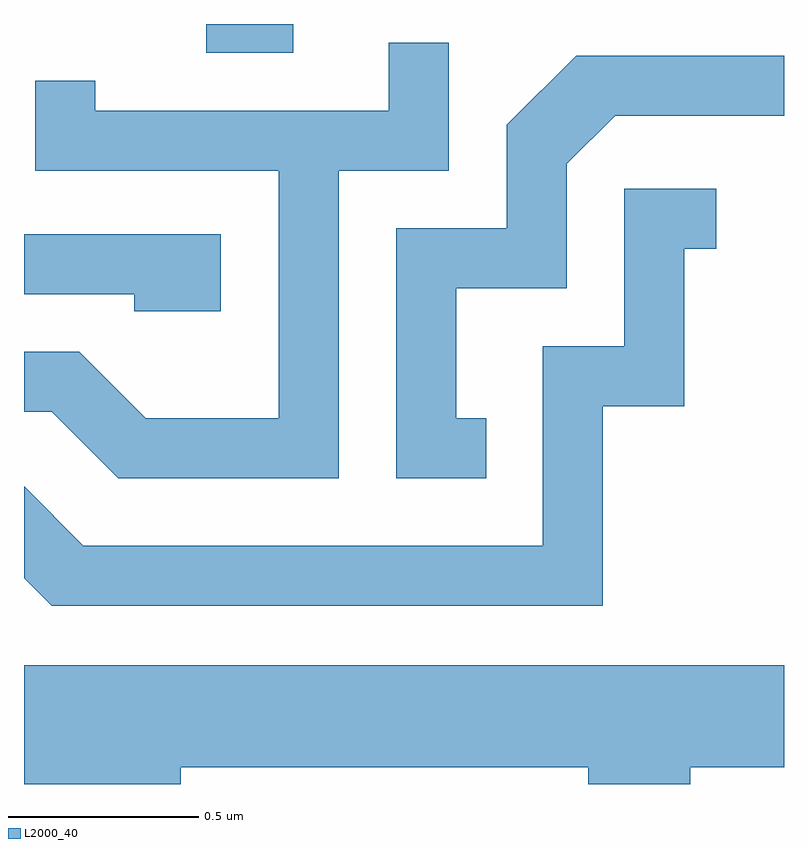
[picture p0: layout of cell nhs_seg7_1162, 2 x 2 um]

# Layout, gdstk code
import gdstk
lib = gdstk.Library(unit=1e-6, precision=1e-09)
def R(c, l, rs):  # rectangles x0, y0, x1, y1
    for r in rs: c.add(gdstk.rectangle(r[:2], r[2:], *l))
def P(c, l, *ps):  # polygons
    for p in ps: c.add(gdstk.Polygon(p, *l))
L2000_40 = (2000, 40)

nhs_seg7_1162 = lib.new_cell('nhs_seg7_1162')
R(nhs_seg7_1162, L2000_40, [(194.091,1736.176,194.319,1736.252)])
P(nhs_seg7_1162, L2000_40, [(194.439,1735.866),(194.729,1735.866),(194.729,1736.203),(194.571,1736.203),(194.571,1736.024),(193.799,1736.024),(193.799,1736.103),(193.641,1736.103),(193.641,1735.866),(194.281,1735.866),(194.281,1735.214),(193.932,1735.214),(193.757,1735.389),(193.611,1735.389),(193.611,1735.231),(193.684,1735.231),(193.859,1735.056),(194.439,1735.056)],
  [(194.828,1735.214),(194.749,1735.214),(194.749,1735.556),(195.039,1735.556),(195.039,1735.884),(195.167,1736.011),(195.611,1736.011),(195.611,1736.169),(195.064,1736.169),(194.881,1735.987),(194.881,1735.714),(194.591,1735.714),(194.591,1735.056),(194.828,1735.056)],
  [(195.134,1735.246),(195.349,1735.246),(195.349,1735.661),(195.433,1735.661),(195.433,1735.819),(195.191,1735.819),(195.191,1735.404),(194.976,1735.404),(194.976,1734.879),(193.767,1734.879),(193.611,1735.035),(193.611,1734.794),(193.684,1734.721),(195.134,1734.721)],
  [(194.129,1735.699),(193.611,1735.699),(193.611,1735.541),(193.901,1735.541),(193.901,1735.496),(194.129,1735.496)],
  [(194.024,1734.296),(195.096,1734.296),(195.096,1734.252),(195.364,1734.252),(195.364,1734.296),(195.611,1734.296),(195.611,1734.564),(193.611,1734.564),(193.611,1734.252),(194.024,1734.252)])

lib.write_gds('nhs_seg7_1162.gds')
